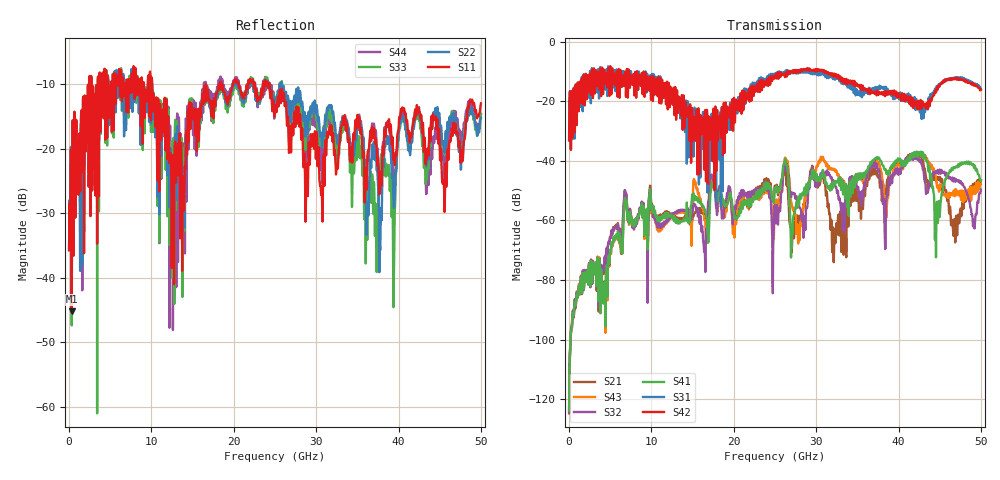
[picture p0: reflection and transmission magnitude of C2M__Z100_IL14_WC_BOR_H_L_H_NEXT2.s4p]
# GHz S MA R 50
! S-Parameters data
! Freq  magS11  angS11  magS12  angS12  magS13  angS13  magS14  angS14
!  magS21  angS21  magS22  angS22  magS23  angS23  magS24  angS24
!  magS31  angS31  magS32  angS32  magS33  angS33  magS34  angS34
!  magS41  angS41  magS42  angS42  magS43  angS43  magS44  angS44
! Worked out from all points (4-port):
!   5000 points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, 10 MHz to 50 GHz, reference 50 ohm
!   strongest paths, dB at 10 MHz, 12.51 GHz, 25.01 GHz, 37.51 GHz, 50 GHz:
!     S42: -33.1, -16.5, -11.6, -17.6, -16.1
!     S31: -33.1, -18.8, -10.8, -15.7, -15.8
!     S41: -123.7, -59.2, -49.2, -39.3, -46.5
!     S32: -124.4, -58.3, -56.0, -43.2, -49.6
!     S43: -123.2, -58.3, -54.7, -41.0, -47.9
!     S21: -124.8, -58.6, -48.4, -45.5, -46.5
!   lowest |S11| = -45.2 dB at 330 MHz (marker M1), VSWR 1.01, Z = 50.3 - j0.467 ohm
!   |S11| at or under -10 dB: start of sweep to 2.454 GHz; 10.08 GHz to 18.36 GHz (8.276 GHz wide, 58.2 % of centre); 24.34 GHz to end of sweep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
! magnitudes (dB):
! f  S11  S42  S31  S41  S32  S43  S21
! 10 MHz  -35.8  -33.1  -33.1  -123.7  -124.4  -123.2  -124.8
! 330 MHz  -45.2  -16.7  -16.8  -96.1  -95.4  -95.1  -96.5
! 6.83 GHz  -9.8  -10.2  -11.4  -52.9  -50.7  -53.1  -50.5
! 16.49 GHz  -12.1  -23.6  -23.4  -56.4  -70.1  -59.2  -58.3
! 17.32 GHz  -14.7  -25.4  -24.2  -47.5  -44.7  -46.3  -45.7
! 32.15 GHz  -20.4  -10.9  -11.3  -47.4  -47.6  -43.1  -72.4
! 50 GHz  -13.0  -16.1  -15.8  -46.5  -49.6  -47.9  -46.5
